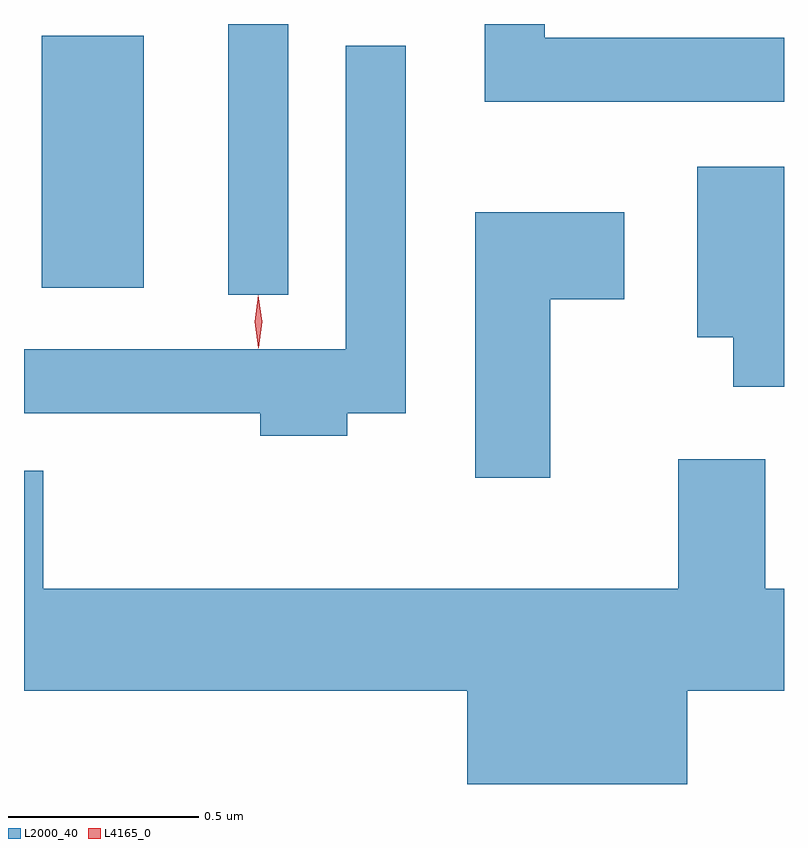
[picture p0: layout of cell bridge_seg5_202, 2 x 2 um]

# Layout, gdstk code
import gdstk
lib = gdstk.Library(unit=1e-6, precision=1e-09)
def R(c, l, rs):  # rectangles x0, y0, x1, y1
    for r in rs: c.add(gdstk.rectangle(r[:2], r[2:], *l))
def P(c, l, *ps):  # polygons
    for p in ps: c.add(gdstk.Polygon(p, *l))
L2000_40 = (2000, 40)
L4165_0 = (4165, 0)

bridge_seg5_202 = lib.new_cell('bridge_seg5_202')
R(bridge_seg5_202, L2000_40, [(1317.246,1428.978,1317.404,1429.69), (1316.756,1428.996,1317.024,1429.659)])
P(bridge_seg5_202, L2000_40, [(1318.709,1429.654),(1318.079,1429.654),(1318.079,1429.69),(1317.921,1429.69),(1317.921,1429.486),(1318.709,1429.486)],
  [(1317.559,1428.666),(1317.714,1428.666),(1317.714,1429.633),(1317.556,1429.633),(1317.556,1428.834),(1316.709,1428.834),(1316.709,1428.666),(1317.331,1428.666),(1317.331,1428.606),(1317.559,1428.606)],
  [(1318.709,1429.314),(1318.481,1429.314),(1318.481,1428.866),(1318.576,1428.866),(1318.576,1428.736),(1318.709,1428.736)],
  [(1318.094,1428.966),(1318.289,1428.966),(1318.289,1429.194),(1317.896,1429.194),(1317.896,1428.496),(1318.094,1428.496)],
  [(1318.454,1427.936),(1318.709,1427.936),(1318.709,1428.204),(1318.659,1428.204),(1318.659,1428.544),(1318.431,1428.544),(1318.431,1428.204),(1316.759,1428.204),(1316.759,1428.514),(1316.709,1428.514),(1316.709,1427.936),(1317.876,1427.936),(1317.876,1427.69),(1318.454,1427.69)])
P(bridge_seg5_202, L4165_0, [(1317.326,1428.837),(1317.326,1428.838),(1317.316,1428.907),(1317.325,1428.976),(1317.326,1428.976),(1317.326,1428.976),(1317.336,1428.907),(1317.327,1428.838)])

lib.write_gds('bridge_seg5_202.gds')
